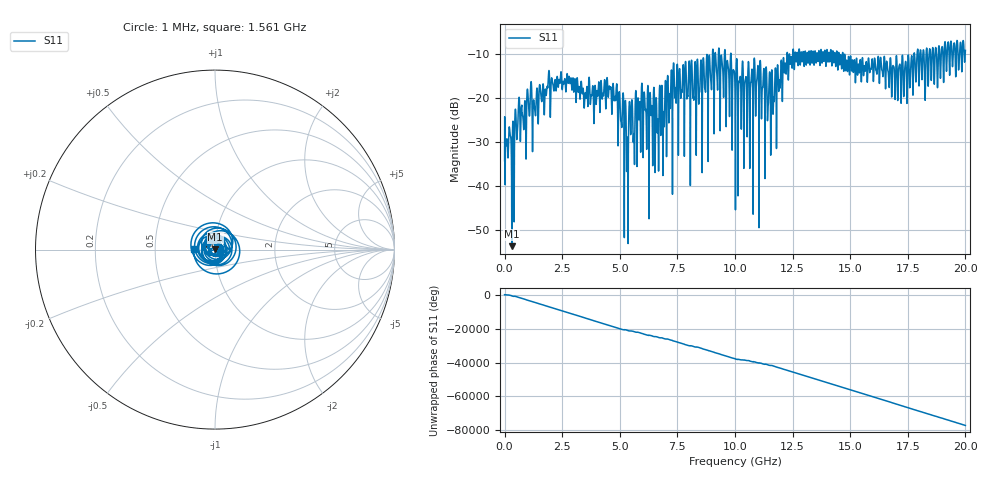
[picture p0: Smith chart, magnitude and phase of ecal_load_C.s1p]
! MS46122B
! 2250307/22442219
! 6/15/2025 8:08:56 AM
! C:\USERS\SPARKY\DOCUMENTS\VNA_DATA\JUNE15_2025\3.2K\ECAL_LOAD_C.S1P
! CHANNEL.1
! TR.MEASUREMENT
! RAW.DATA
# GHZ S RI R 50.0
! FREQ.GHZ  S11RE  S11IM
!; PortSelection: Port_1
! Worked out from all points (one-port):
!   10001 points, 1 MHz to 20 GHz, reference 50 ohm
!   lowest |S11| = -53.7 dB at 313 MHz (marker M1), VSWR 1.00, Z = 50.1 + j0.172 ohm
!   |S11| at or under -10 dB: start of sweep to 9.023 GHz; 9.824 GHz to 12.26 GHz (2.434 GHz wide, 22 % of centre); 14.68 GHz to 17.77 GHz (3.091 GHz wide, 19 % of centre) (the widest 3 of 49)
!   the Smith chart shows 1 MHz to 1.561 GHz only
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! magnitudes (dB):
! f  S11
! 1 MHz  -34.3
! 313 MHz  -53.7
! 551 MHz  -28.0
! 855 MHz  -23.6
! 1.073 GHz  -24.1
! 1.283 GHz  -21.4
! 1.859 GHz  -17.5
! 2.501 GHz  -18.2
! 3.805 GHz  -18.4
! 4.521 GHz  -18.4
! 5.001 GHz  -20.1
! 5.185 GHz  -28.2
! 5.283 GHz  -29.0
! 5.477 GHz  -28.1
! 5.663 GHz  -23.6
! 6.025 GHz  -24.8
! 6.609 GHz  -24.6
! 7.501 GHz  -12.6
! 8.499 GHz  -14.0
! 9.225 GHz  -15.7
! 10 GHz  -18.0
! 10.71 GHz  -15.4
! 10.91 GHz  -19.0
! 11.48 GHz  -16.5
! 12.5 GHz  -10.9
! 15 GHz  -11.3
! 17.5 GHz  -11.8
! 20 GHz  -9.3
